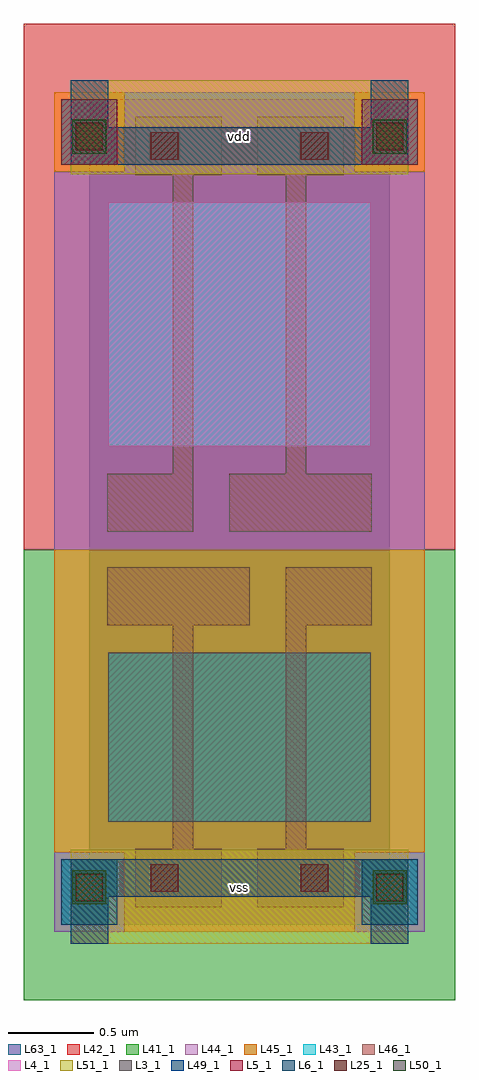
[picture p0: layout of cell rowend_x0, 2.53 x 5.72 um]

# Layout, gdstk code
import gdstk
lib = gdstk.Library(unit=1e-6, precision=1e-09)
def R(c, l, rs):  # rectangles x0, y0, x1, y1
    for r in rs: c.add(gdstk.rectangle(r[:2], r[2:], *l))
L3_1 = (3, 1)
L4_1 = (4, 1)
L5_1 = (5, 1)
L6_1 = (6, 1)
L25_1 = (25, 1)
L41_1 = (41, 1)
L42_1 = (42, 1)
L43_1 = (43, 1)
L44_1 = (44, 1)
L45_1 = (45, 1)
L46_1 = (46, 1)
L49_1 = (49, 1)
L50_1 = (50, 1)
L51_1 = (51, 1)
L63_1 = (63, 1)

rowend_x0 = lib.new_cell('rowend_x0')
R(rowend_x0, L3_1, [(0.11,0.605,1.65,1.595)])
R(rowend_x0, L4_1, [(0.11,2.805,1.65,4.235)])
R(rowend_x0, L5_1, [(-0.165,4.455,0.165,4.84), (1.595,4.455,1.925,4.84)])
R(rowend_x0, L6_1, [(-0.165,0,0.165,0.385), (1.595,0,1.925,0.385)])
R(rowend_x0, L25_1, [(-0.08,0.14,0.08,0.3), (1.68,0.14,1.84,0.3), (0.36,0.195,0.52,0.355), (1.24,0.195,1.4,0.355), (0.36,4.485,0.52,4.645), (1.24,4.485,1.4,4.645), (-0.08,4.54,0.08,4.7), (1.68,4.54,1.84,4.7)])
R(rowend_x0, L41_1, [(-0.385,-0.44,2.145,2.2)])
R(rowend_x0, L42_1, [(-0.385,2.2,2.145,5.28)])
R(rowend_x0, L43_1, [(-0.165,0,0.165,0.385), (1.595,0,1.925,0.385), (0.11,0.605,1.65,1.595), (0.11,2.805,1.65,4.235), (-0.165,4.455,0.165,4.84), (1.595,4.455,1.925,4.84)])
R(rowend_x0, L44_1, [(-0.205,-0.04,0.205,0.425), (1.555,-0.04,1.965,0.425), (-0.205,2.2,1.965,4.415), (0.205,4.415,1.555,4.88)])
R(rowend_x0, L45_1, [(0.205,-0.04,1.555,0.425), (-0.205,0.425,1.965,2.2), (-0.205,4.415,0.205,4.88), (1.555,4.415,1.965,4.88)])
R(rowend_x0, L46_1, [(0.27,0.105,0.775,0.445), (0.985,0.105,1.49,0.445), (0.49,0.445,0.61,1.755), (1.15,0.445,1.27,1.755), (0.105,1.755,0.94,2.095), (1.15,1.755,1.655,2.095), (0.105,2.305,0.61,2.645), (0.82,2.305,1.655,2.645), (0.49,2.645,0.61,4.395), (1.15,2.645,1.27,4.395), (0.27,4.395,0.775,4.735), (0.985,4.395,1.49,4.735)])
R(rowend_x0, L49_1, [(-0.11,-0.11,0.11,0.165), (1.65,-0.11,1.87,0.165), (-0.11,0.165,1.87,0.385), (-0.11,4.455,1.87,4.675), (-0.11,4.675,0.11,4.95), (1.65,4.675,1.87,4.95)])
R(rowend_x0, L50_1, [(-0.1,0.12,0.1,0.32), (1.66,0.12,1.86,0.32), (-0.1,4.52,0.1,4.72), (1.66,4.52,1.86,4.72)])
R(rowend_x0, L51_1, [(-0.11,-0.11,1.87,0.44), (-0.11,4.4,1.87,4.95)])
R(rowend_x0, L63_1, [(0,0,1.76,4.84)])
rowend_x0.add(gdstk.Label('vss', (0.88,0.22), layer=51, texttype=1))
rowend_x0.add(gdstk.Label('vdd', (0.88,4.62), layer=51, texttype=1))

lib.write_gds('rowend_x0.gds')
